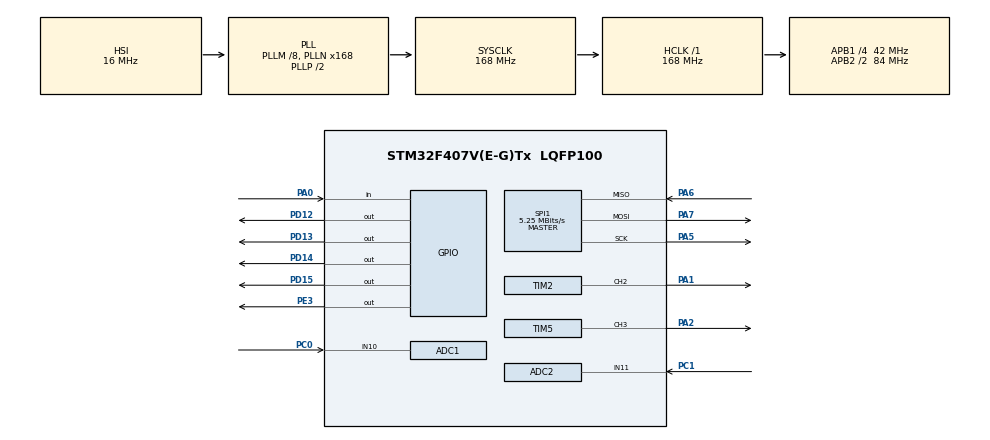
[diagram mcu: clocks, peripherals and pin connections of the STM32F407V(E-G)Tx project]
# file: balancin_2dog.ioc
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ADC1.Channel-0\#ChannelRegularConversion=ADC_CHANNEL_10
ADC1.NbrOfConversionFlag=1
ADC1.Rank-0\#ChannelRegularConversion=1
ADC1.SamplingTime-0\#ChannelRegularConversion=ADC_SAMPLETIME_3CYCLES
ADC1.master=1
ADC2.Channel-0\#ChannelRegularConversion=ADC_CHANNEL_11
ADC2.NbrOfConversionFlag=1
ADC2.Rank-0\#ChannelRegularConversion=1
ADC2.SamplingTime-0\#ChannelRegularConversion=ADC_SAMPLETIME_3CYCLES
Mcu.Family=STM32F4
Mcu.Name=STM32F407V(E-G)Tx
Mcu.Package=LQFP100
NVIC.PriorityGroup=NVIC_PRIORITYGROUP_0
NVIC.TIM1_UP_TIM10_IRQn=true\:0\:0\:false\:false\:true\:false\:true
NVIC.TimeBase=TIM1_UP_TIM10_IRQn
NVIC.TimeBaseIP=TIM1
PA0-WKUP.Signal=GPIO_Input
PA1.Signal=S_TIM2_CH2
PA2.Signal=S_TIM5_CH3
PA5.Mode=Full_Duplex_Master
PA5.Signal=SPI1_SCK
PA6.Mode=Full_Duplex_Master
PA6.Signal=SPI1_MISO
PA7.Mode=Full_Duplex_Master
PA7.Signal=SPI1_MOSI
PC0.Signal=ADCx_IN10
PC1.Signal=ADCx_IN11
PD12.Signal=GPIO_Output
PD13.Signal=GPIO_Output
PD14.Signal=GPIO_Output
PD15.Signal=GPIO_Output
PE3.PinState=GPIO_PIN_SET
PE3.Signal=GPIO_Output
ProjectManager.HeapSize=0x200
ProjectManager.StackSize=0x400
ProjectManager.TargetToolchain=STM32CubeIDE
RCC.48MHZClocksFreq_Value=48000000
RCC.AHBFreq_Value=168000000
RCC.APB1CLKDivider=RCC_HCLK_DIV4
RCC.APB1Freq_Value=42000000
RCC.APB1TimFreq_Value=84000000
RCC.APB2CLKDivider=RCC_HCLK_DIV2
RCC.APB2Freq_Value=84000000
RCC.APB2TimFreq_Value=168000000
RCC.CortexFreq_Value=168000000
RCC.HCLKFreq_Value=168000000
RCC.HSE_VALUE=8000000
RCC.HSI_VALUE=16000000
RCC.LSE_VALUE=32768
RCC.PLLM=8
RCC.PLLN=168
RCC.PLLQ=7
RCC.SYSCLKFreq_VALUE=168000000
RCC.SYSCLKSource=RCC_SYSCLKSOURCE_PLLCLK
RCC.VCOOutputFreq_Value=336000000
SH.ADCx_IN10.0=ADC1_IN10,IN10
SH.ADCx_IN11.0=ADC2_IN11,IN11
SH.S_TIM2_CH2.0=TIM2_CH2,PWM Generation2 CH2
SH.S_TIM5_CH3.0=TIM5_CH3,PWM Generation3 CH3
SPI1.BaudRatePrescaler=SPI_BAUDRATEPRESCALER_16
SPI1.CalculateBaudRate=5.25 MBits/s
SPI1.Direction=SPI_DIRECTION_2LINES
SPI1.Mode=SPI_MODE_MASTER
SPI1.VirtualType=VM_MASTER
TIM2.Channel-PWM\ Generation2\ CH2=TIM_CHANNEL_2
TIM2.Period=20000
TIM2.Prescaler=83
TIM5.Channel-PWM\ Generation3\ CH3=TIM_CHANNEL_3
TIM5.Period=20000
TIM5.Prescaler=83
VP_SYS_VS_tim1.Mode=TIM1
VP_TIM2_VS_ClockSourceINT.Mode=Internal
VP_TIM5_VS_ClockSourceINT.Mode=Internal
board=STM32F407G-DISC1

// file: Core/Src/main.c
/* USER CODE BEGIN Header */
/**
  ******************************************************************************
  * @file           : main.c
  * @brief          : Main program body
  ******************************************************************************
  * @attention
  *
  * <h2><center>&copy; Copyright (c) 2021 STMicroelectronics.
  * All rights reserved.</center></h2>
  *
  * This software component is licensed by ST under BSD 3-Clause license,
  * the "License"; You may not use this file except in compliance with the
  * License. You may obtain a copy of the License at:
  *                        opensource.org/licenses/BSD-3-Clause
  *
  ******************************************************************************
  */
/* USER CODE END Header */
#include "main.h"

ADC_HandleTypeDef hadc1;
ADC_HandleTypeDef hadc2;

SPI_HandleTypeDef hspi1;

TIM_HandleTypeDef htim2;
TIM_HandleTypeDef htim5;

/* USER CODE BEGIN PV */
int mode = 0;
	int16_t angle_x;
	int16_t angle_y;
	int16_t adcval_x;
	int16_t adcval_y;
	uint8_t spiTxBuf[2];
	uint8_t spiRxBuf[5];
	volatile int16_t accel_x;
	volatile int16_t accel_y;
	uint32_t tickstart;
/* USER CODE END PV */

void SystemClock_Config(void);
static void MX_GPIO_Init(void);
static void MX_ADC1_Init(void);
static void MX_SPI1_Init(void);
static void MX_TIM2_Init(void);
static void MX_ADC2_Init(void);
static void MX_TIM5_Init(void);

/* USER CODE BEGIN 0 */
	int16_t map_acc(int16_t accel_x)
	{
		if (accel_x > 16384) return 2500;
		else if (accel_x < -16384) return 600;
		else if(accel_x < 300 && accel_x > -300) return 1550;
		return (accel_x - (-18384)) * (2500 - 600) / (16284 - (-16384)) + 600;
	}

	int16_t map_adc(int16_t adc)
	{
		return (adc - 0) * (2500 - 600) / (4096 - 0) + 600;
	}
/* USER CODE END 0 */

int main(void)
{

  /* MCU Configuration--------------------------------------------------------*/

  /* Reset of all peripherals, Initializes the Flash interface and the Systick. */
  HAL_Init();

  /* Configure the system clock */
  SystemClock_Config();

  /* Initialize all configured peripherals */
  MX_GPIO_Init();
  MX_ADC1_Init();
  MX_SPI1_Init();
  MX_TIM2_Init();
  MX_ADC2_Init();
  MX_TIM5_Init();
  /* USER CODE BEGIN 2 */
  	  	  HAL_TIM_PWM_Start(&htim2, TIM_CHANNEL_2);
  	  	  HAL_TIM_PWM_Start(&htim5, TIM_CHANNEL_3);
    	  HAL_GPIO_WritePin(GPIOE,GPIO_PIN_3,GPIO_PIN_SET); //Aseguro que no haya comunicación antes
    	  HAL_Delay(20);

    	  // Activación de los registros para la lectura de datos
    	  HAL_GPIO_WritePin(GPIOE,GPIO_PIN_3,GPIO_PIN_RESET); //Comienzo la transmisión de datos por SPI
    	  HAL_Delay(20);
    	  spiTxBuf[0]=0x20; //Accedo al registro 0x20 (Control Regist 4)
    	  spiTxBuf[1]=0x67; //Activo los elementos 0x67 (en decimal = 103; binario = 0110_0111) Para q los outputs vayan a 100Hz de tasa de refresco
    	  HAL_SPI_Transmit(&hspi1,spiTxBuf,2,50);
    	  HAL_GPIO_WritePin(GPIOE,GPIO_PIN_3,GPIO_PIN_SET); //Fin de la transmisión de datos por SPI
    	  HAL_Delay(20);
  /* USER CODE END 2 */

  /* Infinite loop */
  while (1)
  {
	  if(HAL_GPIO_ReadPin(GPIOA, GPIO_PIN_0)){
		  if(mode == 1)
			  mode = 0;
		  else
			  mode = 1;
		  tickstart = HAL_GetTick();
		  while(HAL_GetTick() - tickstart <= 300) continue;
	   }

	  if(mode == 0)
		  {
			  HAL_GPIO_WritePin(GPIOE,GPIO_PIN_3,GPIO_PIN_RESET);
			  //HAL_Delay(10);
			  spiTxBuf[0]=0x28|0x80;
			  HAL_SPI_Transmit(&hspi1,spiTxBuf,1,50);
			  HAL_SPI_Receive(&hspi1,&spiRxBuf[1],1,50);
			  HAL_GPIO_WritePin(GPIOE,GPIO_PIN_3,GPIO_PIN_SET);
			  //HAL_Delay(10);

			  HAL_GPIO_WritePin(GPIOE,GPIO_PIN_3,GPIO_PIN_RESET);
			  //HAL_Delay(10);
			  spiTxBuf[0]=0x29|0x80;
			  HAL_SPI_Transmit(&hspi1,spiTxBuf,1,50);
			  HAL_SPI_Receive(&hspi1,&spiRxBuf[2],1,50);
			  HAL_GPIO_WritePin(GPIOE,GPIO_PIN_3,GPIO_PIN_SET);
			  //HAL_Delay(10);

			  HAL_GPIO_WritePin(GPIOE,GPIO_PIN_3,GPIO_PIN_RESET);
			  //HAL_Delay(10);
			  spiTxBuf[0]=0x2a|0x80;
			  HAL_SPI_Transmit(&hspi1,spiTxBuf,1,50);
			  HAL_SPI_Receive(&hspi1,&spiRxBuf[3],1,50);
			  HAL_GPIO_WritePin(GPIOE,GPIO_PIN_3,GPIO_PIN_SET);
			  //HAL_Delay(10);

			  HAL_GPIO_WritePin(GPIOE,GPIO_PIN_3,GPIO_PIN_RESET);
			  //HAL_Delay(10);
			  spiTxBuf[0]=0x2b|0x80;
			  HAL_SPI_Transmit(&hspi1,spiTxBuf,1,50);
			  HAL_SPI_Receive(&hspi1,&spiRxBuf[4],1,50);
			  HAL_GPIO_WritePin(GPIOE,GPIO_PIN_3,GPIO_PIN_SET);
			  //HAL_Delay(10);

			  // Carga de los datos del buffer a las variables
			  accel_x = (spiRxBuf[2]<<8)|spiRxBuf[1];
			  accel_y = (spiRxBuf[4]<<8)|spiRxBuf[3];

			  angle_x = map_acc(accel_x);
			  angle_y = map_acc(accel_y);
		  }
		  else
		  {
			  HAL_ADC_Start(&hadc1);
			  if(HAL_ADC_PollForConversion(&hadc1, 100)==HAL_OK)
				  adcval_x = HAL_ADC_GetValue(&hadc1);
			  HAL_ADC_Stop(&hadc1);

			  HAL_ADC_Start(&hadc2);
			  if(HAL_ADC_PollForConversion(&hadc2, 100)==HAL_OK)
				  adcval_y = HAL_ADC_GetValue(&hadc2);
			  HAL_ADC_Stop(&hadc2);

			  angle_x = map_adc(adcval_x);
			  angle_y = map_adc(adcval_y);
		  }
		  __HAL_TIM_SET_COMPARE(&htim2, TIM_CHANNEL_2, angle_x);
		  __HAL_TIM_SET_COMPARE(&htim5, TIM_CHANNEL_3, angle_y);
  }
}

void SystemClock_Config(void)
{
  RCC_OscInitTypeDef RCC_OscInitStruct = {0};
  RCC_ClkInitTypeDef RCC_ClkInitStruct = {0};

  /** Configure the main internal regulator output voltage
  */
  __HAL_RCC_PWR_CLK_ENABLE();
  __HAL_PWR_VOLTAGESCALING_CONFIG(PWR_REGULATOR_VOLTAGE_SCALE1);
  /** Initializes the RCC Oscillators according to the specified parameters
  * in the RCC_OscInitTypeDef structure.
  */
  RCC_OscInitStruct.OscillatorType = RCC_OSCILLATORTYPE_HSI;
  RCC_OscInitStruct.HSIState = RCC_HSI_ON;
  RCC_OscInitStruct.HSICalibrationValue = RCC_HSICALIBRATION_DEFAULT;
  RCC_OscInitStruct.PLL.PLLState = RCC_PLL_ON;
  RCC_OscInitStruct.PLL.PLLSource = RCC_PLLSOURCE_HSI;
  RCC_OscInitStruct.PLL.PLLM = 8;
  RCC_OscInitStruct.PLL.PLLN = 168;
  RCC_OscInitStruct.PLL.PLLP = RCC_PLLP_DIV2;
  RCC_OscInitStruct.PLL.PLLQ = 7;
  if (HAL_RCC_OscConfig(&RCC_OscInitStruct) != HAL_OK)
  {
    Error_Handler();
  }
  /** Initializes the CPU, AHB and APB buses clocks
  */
  RCC_ClkInitStruct.ClockType = RCC_CLOCKTYPE_HCLK|RCC_CLOCKTYPE_SYSCLK
                              |RCC_CLOCKTYPE_PCLK1|RCC_CLOCKTYPE_PCLK2;
  RCC_ClkInitStruct.SYSCLKSource = RCC_SYSCLKSOURCE_PLLCLK;
  RCC_ClkInitStruct.AHBCLKDivider = RCC_SYSCLK_DIV1;
  RCC_ClkInitStruct.APB1CLKDivider = RCC_HCLK_DIV4;
  RCC_ClkInitStruct.APB2CLKDivider = RCC_HCLK_DIV2;

  if (HAL_RCC_ClockConfig(&RCC_ClkInitStruct, FLASH_LATENCY_5) != HAL_OK)
  {
    Error_Handler();
  }
}

static void MX_ADC1_Init(void)
{

  ADC_ChannelConfTypeDef sConfig = {0};

  /** Configure the global features of the ADC (Clock, Resolution, Data Alignment and number of conversion)
  */
  hadc1.Instance = ADC1;
  hadc1.Init.ClockPrescaler = ADC_CLOCK_SYNC_PCLK_DIV4;
  hadc1.Init.Resolution = ADC_RESOLUTION_12B;
  hadc1.Init.ScanConvMode = DISABLE;
  hadc1.Init.ContinuousConvMode = DISABLE;
  hadc1.Init.DiscontinuousConvMode = DISABLE;
  hadc1.Init.ExternalTrigConvEdge = ADC_EXTERNALTRIGCONVEDGE_NONE;
  hadc1.Init.ExternalTrigConv = ADC_SOFTWARE_START;
  hadc1.Init.DataAlign = ADC_DATAALIGN_RIGHT;
  hadc1.Init.NbrOfConversion = 1;
  hadc1.Init.DMAContinuousRequests = DISABLE;
  hadc1.Init.EOCSelection = ADC_EOC_SINGLE_CONV;
  if (HAL_ADC_Init(&hadc1) != HAL_OK)
  {
    Error_Handler();
  }
  /** Configure for the selected ADC regular channel its corresponding rank in the sequencer and its sample time.
  */
  sConfig.Channel = ADC_CHANNEL_10;
  sConfig.Rank = 1;
  sConfig.SamplingTime = ADC_SAMPLETIME_3CYCLES;
  if (HAL_ADC_ConfigChannel(&hadc1, &sConfig) != HAL_OK)
  {
    Error_Handler();
  }

}

static void MX_ADC2_Init(void)
{

  ADC_ChannelConfTypeDef sConfig = {0};

  /** Configure the global features of the ADC (Clock, Resolution, Data Alignment and number of conversion)
  */
  hadc2.Instance = ADC2;
  hadc2.Init.ClockPrescaler = ADC_CLOCK_SYNC_PCLK_DIV4;
  hadc2.Init.Resolution = ADC_RESOLUTION_12B;
  hadc2.Init.ScanConvMode = DISABLE;
  hadc2.Init.ContinuousConvMode = DISABLE;
  hadc2.Init.DiscontinuousConvMode = DISABLE;
  hadc2.Init.ExternalTrigConvEdge = ADC_EXTERNALTRIGCONVEDGE_NONE;
  hadc2.Init.ExternalTrigConv = ADC_SOFTWARE_START;
  hadc2.Init.DataAlign = ADC_DATAALIGN_RIGHT;
  hadc2.Init.NbrOfConversion = 1;
  hadc2.Init.DMAContinuousRequests = DISABLE;
  hadc2.Init.EOCSelection = ADC_EOC_SINGLE_CONV;
  if (HAL_ADC_Init(&hadc2) != HAL_OK)
  {
    Error_Handler();
  }
  /** Configure for the selected ADC regular channel its corresponding rank in the sequencer and its sample time.
  */
  sConfig.Channel = ADC_CHANNEL_11;
  sConfig.Rank = 1;
  sConfig.SamplingTime = ADC_SAMPLETIME_3CYCLES;
  if (HAL_ADC_ConfigChannel(&hadc2, &sConfig) != HAL_OK)
  {
    Error_Handler();
  }

}

static void MX_SPI1_Init(void)
{

  /* SPI1 parameter configuration*/
  hspi1.Instance = SPI1;
  hspi1.Init.Mode = SPI_MODE_MASTER;
  hspi1.Init.Direction = SPI_DIRECTION_2LINES;
  hspi1.Init.DataSize = SPI_DATASIZE_8BIT;
  hspi1.Init.CLKPolarity = SPI_POLARITY_LOW;
  hspi1.Init.CLKPhase = SPI_PHASE_1EDGE;
  hspi1.Init.NSS = SPI_NSS_SOFT;
  hspi1.Init.BaudRatePrescaler = SPI_BAUDRATEPRESCALER_16;
  hspi1.Init.FirstBit = SPI_FIRSTBIT_MSB;
  hspi1.Init.TIMode = SPI_TIMODE_DISABLE;
  hspi1.Init.CRCCalculation = SPI_CRCCALCULATION_DISABLE;
  hspi1.Init.CRCPolynomial = 10;
  if (HAL_SPI_Init(&hspi1) != HAL_OK)
  {
    Error_Handler();
  }

}

static void MX_TIM2_Init(void)
{

  TIM_ClockConfigTypeDef sClockSourceConfig = {0};
  TIM_MasterConfigTypeDef sMasterConfig = {0};
  TIM_OC_InitTypeDef sConfigOC = {0};

  htim2.Instance = TIM2;
  htim2.Init.Prescaler = 83;
  htim2.Init.CounterMode = TIM_COUNTERMODE_UP;
  htim2.Init.Period = 20000;
  htim2.Init.ClockDivision = TIM_CLOCKDIVISION_DIV1;
  htim2.Init.AutoReloadPreload = TIM_AUTORELOAD_PRELOAD_DISABLE;
  if (HAL_TIM_Base_Init(&htim2) != HAL_OK)
  {
    Error_Handler();
  }
  sClockSourceConfig.ClockSource = TIM_CLOCKSOURCE_INTERNAL;
  if (HAL_TIM_ConfigClockSource(&htim2, &sClockSourceConfig) != HAL_OK)
  {
    Error_Handler();
  }
  if (HAL_TIM_PWM_Init(&htim2) != HAL_OK)
  {
    Error_Handler();
  }
  sMasterConfig.MasterOutputTrigger = TIM_TRGO_RESET;
  sMasterConfig.MasterSlaveMode = TIM_MASTERSLAVEMODE_DISABLE;
  if (HAL_TIMEx_MasterConfigSynchronization(&htim2, &sMasterConfig) != HAL_OK)
  {
    Error_Handler();
  }
  sConfigOC.OCMode = TIM_OCMODE_PWM1;
  sConfigOC.Pulse = 0;
  sConfigOC.OCPolarity = TIM_OCPOLARITY_HIGH;
  sConfigOC.OCFastMode = TIM_OCFAST_DISABLE;
  if (HAL_TIM_PWM_ConfigChannel(&htim2, &sConfigOC, TIM_CHANNEL_2) != HAL_OK)
  {
    Error_Handler();
  }
  HAL_TIM_MspPostInit(&htim2);

}

static void MX_TIM5_Init(void)
{

  TIM_ClockConfigTypeDef sClockSourceConfig = {0};
  TIM_MasterConfigTypeDef sMasterConfig = {0};
  TIM_OC_InitTypeDef sConfigOC = {0};

  htim5.Instance = TIM5;
  htim5.Init.Prescaler = 83;
  htim5.Init.CounterMode = TIM_COUNTERMODE_UP;
  htim5.Init.Period = 20000;
  htim5.Init.ClockDivision = TIM_CLOCKDIVISION_DIV1;
  htim5.Init.AutoReloadPreload = TIM_AUTORELOAD_PRELOAD_DISABLE;
  if (HAL_TIM_Base_Init(&htim5) != HAL_OK)
  {
    Error_Handler();
  }
  sClockSourceConfig.ClockSource = TIM_CLOCKSOURCE_INTERNAL;
  if (HAL_TIM_ConfigClockSource(&htim5, &sClockSourceConfig) != HAL_OK)
  {
    Error_Handler();
  }
  if (HAL_TIM_PWM_Init(&htim5) != HAL_OK)
  {
    Error_Handler();
  }
  sMasterConfig.MasterOutputTrigger = TIM_TRGO_RESET;
  sMasterConfig.MasterSlaveMode = TIM_MASTERSLAVEMODE_DISABLE;
  if (HAL_TIMEx_MasterConfigSynchronization(&htim5, &sMasterConfig) != HAL_OK)
  {
    Error_Handler();
  }
  sConfigOC.OCMode = TIM_OCMODE_PWM1;
  sConfigOC.Pulse = 0;
  sConfigOC.OCPolarity = TIM_OCPOLARITY_HIGH;
  sConfigOC.OCFastMode = TIM_OCFAST_DISABLE;
  if (HAL_TIM_PWM_ConfigChannel(&htim5, &sConfigOC, TIM_CHANNEL_3) != HAL_OK)
  {
    Error_Handler();
  }
  HAL_TIM_MspPostInit(&htim5);

}

static void MX_GPIO_Init(void)
{
  GPIO_InitTypeDef GPIO_InitStruct = {0};

  /* GPIO Ports Clock Enable */
  __HAL_RCC_GPIOE_CLK_ENABLE();
  __HAL_RCC_GPIOC_CLK_ENABLE();
  __HAL_RCC_GPIOA_CLK_ENABLE();
  __HAL_RCC_GPIOD_CLK_ENABLE();

  /*Configure GPIO pin Output Level */
  HAL_GPIO_WritePin(GPIOE, GPIO_PIN_3, GPIO_PIN_SET);

  /*Configure GPIO pin Output Level */
  HAL_GPIO_WritePin(GPIOD, GPIO_PIN_12|GPIO_PIN_13|GPIO_PIN_14|GPIO_PIN_15, GPIO_PIN_RESET);

  /*Configure GPIO pin : PE3 */
  GPIO_InitStruct.Pin = GPIO_PIN_3;
  GPIO_InitStruct.Mode = GPIO_MODE_OUTPUT_PP;
  GPIO_InitStruct.Pull = GPIO_NOPULL;
  GPIO_InitStruct.Speed = GPIO_SPEED_FREQ_LOW;
  HAL_GPIO_Init(GPIOE, &GPIO_InitStruct);

  /*Configure GPIO pin : PA0 */
  GPIO_InitStruct.Pin = GPIO_PIN_0;
  GPIO_InitStruct.Mode = GPIO_MODE_INPUT;
  GPIO_InitStruct.Pull = GPIO_NOPULL;
  HAL_GPIO_Init(GPIOA, &GPIO_InitStruct);

  /*Configure GPIO pins : PD12 PD13 PD14 PD15 */
  GPIO_InitStruct.Pin = GPIO_PIN_12|GPIO_PIN_13|GPIO_PIN_14|GPIO_PIN_15;
  GPIO_InitStruct.Mode = GPIO_MODE_OUTPUT_PP;
  GPIO_InitStruct.Pull = GPIO_NOPULL;
  GPIO_InitStruct.Speed = GPIO_SPEED_FREQ_LOW;
  HAL_GPIO_Init(GPIOD, &GPIO_InitStruct);

}

void HAL_TIM_PeriodElapsedCallback(TIM_HandleTypeDef *htim)
{
  if (htim->Instance == TIM1) {
    HAL_IncTick();
  }
}

void Error_Handler(void)
{
  __disable_irq();
  while (1)
  {
  }
}

/************************ (C) COPYRIGHT STMicroelectronics *****END OF FILE****/
